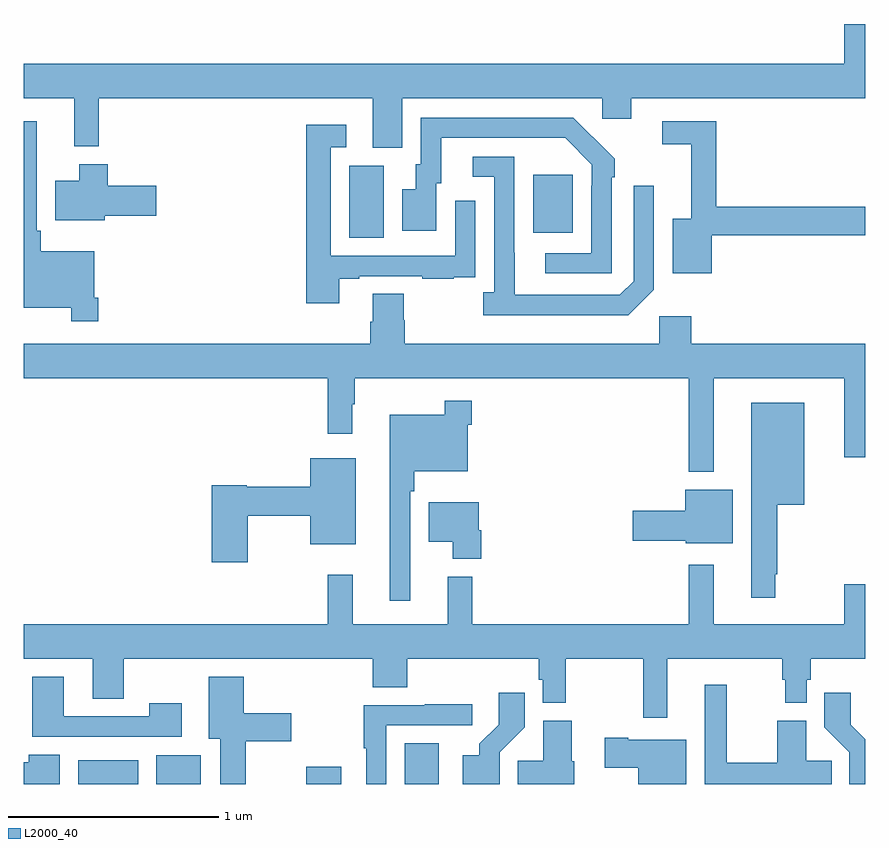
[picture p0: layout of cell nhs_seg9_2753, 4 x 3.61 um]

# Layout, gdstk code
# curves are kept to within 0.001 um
import gdstk
lib = gdstk.Library(unit=1e-6, precision=1e-09)
def R(c, l, rs):  # rectangles x0, y0, x1, y1
    for r in rs: c.add(gdstk.rectangle(r[:2], r[2:], *l))
def P(c, l, *ps):  # polygons
    for p in ps: c.add(gdstk.Polygon(p, *l))
L2000_40 = (2000, 40)

nhs_seg9_2753 = lib.new_cell('nhs_seg9_2753')
R(nhs_seg9_2753, L2000_40, [(269.258,1186.5,269.545,1186.612), (269.63,1186.5,269.842,1186.636), (270.343,1186.5,270.508,1186.582), (270.812,1186.5,270.973,1186.693), (270.548,1189.096,270.712,1189.44), (271.421,1189.121,271.609,1189.396)])
P(nhs_seg9_2753, L2000_40, [(270.799,1189.76),(271.749,1189.76),(271.749,1189.662),(271.888,1189.662),(271.888,1189.76),(273,1189.76),(273,1190.113),(272.9,1190.113),(272.9,1189.924),(269,1189.924),(269,1189.76),(269.24,1189.76),(269.24,1189.532),(269.357,1189.532),(269.357,1189.76),(270.659,1189.76),(270.659,1189.525),(270.799,1189.525)],
  [(271.794,1189.385),(271.809,1189.385),(271.809,1189.473),(271.612,1189.668),(270.888,1189.668),(270.888,1189.446),(270.863,1189.446),(270.863,1189.327),(270.8,1189.327),(270.8,1189.131),(270.961,1189.131),(270.961,1189.356),(270.985,1189.356),(270.985,1189.572),(271.573,1189.572),(271.701,1189.443),(271.701,1189.343),(271.698,1189.343),(271.698,1189.023),(271.479,1189.023),(271.479,1188.927),(271.794,1188.927)],
  [(269.354,1188.811),(269.334,1188.811),(269.334,1189.033),(269.081,1189.033),(269.081,1189.129),(269.061,1189.129),(269.061,1189.651),(269,1189.651),(269,1188.764),(269.226,1188.764),(269.226,1188.699),(269.354,1188.699)],
  [(272.271,1189.108),(273,1189.108),(273,1189.244),(272.291,1189.244),(272.291,1189.65),(272.034,1189.65),(272.034,1189.542),(272.174,1189.542),(272.174,1189.186),(272.084,1189.186),(272.084,1188.929),(272.271,1188.929)],
  [(270.499,1188.903),(270.595,1188.903),(270.595,1188.915),(270.895,1188.915),(270.895,1188.903),(271.043,1188.903),(271.043,1188.909),(271.145,1188.909),(271.145,1189.018),(271.146,1189.018),(271.146,1189.273),(271.05,1189.273),(271.05,1189.011),(270.459,1189.011),(270.459,1189.527),(270.532,1189.527),(270.532,1189.633),(270.343,1189.633),(270.343,1188.786),(270.499,1188.786)],
  [(271.995,1188.849),(271.995,1189.345),(271.899,1189.345),(271.899,1188.891),(271.833,1188.825),(271.333,1188.825),(271.332,1189.482),(271.134,1189.482),(271.134,1189.386),(271.236,1189.386),(271.236,1188.838),(271.185,1188.838),(271.185,1188.728),(271.874,1188.728)],
  [(269.386,1189.202),(269.629,1189.202),(269.629,1189.344),(269.399,1189.344),(269.399,1189.447),(269.264,1189.447),(269.264,1189.369),(269.15,1189.369),(269.15,1189.181),(269.386,1189.181)],
  [(272.281,1188.428),(272.9,1188.428),(272.9,1188.054),(273,1188.054),(273,1188.592),(272.174,1188.592),(272.174,1188.724),(272.022,1188.724),(272.022,1188.592),(270.812,1188.592),(270.812,1188.705),(270.807,1188.705),(270.807,1188.83),(270.659,1188.83),(270.659,1188.698),(270.647,1188.698),(270.647,1188.592),(269,1188.592),(269,1188.428),(270.445,1188.428),(270.445,1188.165),(270.562,1188.165),(270.562,1188.305),(270.574,1188.305),(270.574,1188.428),(272.16,1188.428),(272.16,1187.984),(272.281,1187.984)],
  [(270.837,1187.891),(270.857,1187.891),(270.857,1187.987),(271.11,1187.987),(271.11,1188.209),(271.13,1188.209),(271.13,1188.322),(271.002,1188.322),(271.002,1188.256),(270.74,1188.256),(270.74,1187.37),(270.837,1187.37)],
  [(272.573,1187.497),(272.581,1187.497),(272.581,1187.828),(272.71,1187.828),(272.71,1188.313),(272.459,1188.313),(272.459,1187.385),(272.573,1187.385)],
  [(270.064,1187.776),(270.362,1187.776),(270.362,1187.639),(270.577,1187.639),(270.577,1188.049),(270.362,1188.049),(270.362,1187.912),(270.06,1187.912),(270.06,1187.92),(269.894,1187.92),(269.894,1187.553),(270.064,1187.553)],
  [(272.371,1187.899),(272.144,1187.899),(272.144,1187.798),(271.896,1187.798),(271.896,1187.656),(272.148,1187.656),(272.148,1187.645),(272.371,1187.645)],
  [(271.175,1187.706),(271.162,1187.706),(271.162,1187.839),(270.926,1187.839),(270.926,1187.651),(271.04,1187.651),(271.04,1187.57),(271.175,1187.57)],
  [(272.059,1187.096),(272.605,1187.096),(272.605,1186.995),(272.62,1186.995),(272.62,1186.886),(272.721,1186.886),(272.721,1186.995),(272.741,1186.995),(272.741,1187.096),(273,1187.096),(273,1187.449),(272.9,1187.449),(272.9,1187.26),(272.281,1187.26),(272.281,1187.542),(272.16,1187.542),(272.16,1187.26),(271.133,1187.26),(271.133,1187.485),(271.016,1187.485),(271.016,1187.26),(270.563,1187.26),(270.563,1187.494),(270.445,1187.494),(270.445,1187.26),(269,1187.26),(269,1187.096),(269.327,1187.096),(269.327,1186.906),(269.475,1186.906),(269.475,1187.096),(270.659,1187.096),(270.659,1186.96),(270.824,1186.96),(270.824,1187.096),(271.447,1187.096),(271.447,1186.995),(271.467,1186.995),(271.467,1186.886),(271.576,1186.886),(271.576,1187.096),(271.945,1187.096),(271.945,1186.815),(272.059,1186.815)],
  [(270.054,1186.703),(270.271,1186.703),(270.271,1186.837),(270.046,1186.837),(270.046,1187.011),(269.879,1187.011),(269.879,1186.715),(269.933,1186.715),(269.933,1186.5),(270.054,1186.5)],
  [(269.752,1186.885),(269.596,1186.885),(269.596,1186.821),(269.191,1186.821),(269.191,1187.011),(269.039,1187.011),(269.039,1186.725),(269.752,1186.725)],
  [(272.84,1186.61),(272.719,1186.61),(272.719,1186.801),(272.582,1186.801),(272.582,1186.601),(272.341,1186.601),(272.341,1186.972),(272.237,1186.972),(272.237,1186.5),(272.84,1186.5)],
  [(271.263,1186.651),(271.382,1186.77),(271.382,1186.933),(271.257,1186.933),(271.257,1186.781),(271.166,1186.691),(271.166,1186.636),(271.086,1186.636),(271.086,1186.5),(271.263,1186.5)],
  [(273,1186.713),(272.932,1186.781),(272.932,1186.933),(272.806,1186.933),(272.806,1186.77),(272.925,1186.651),(272.925,1186.5),(273,1186.5)],
  [(270.723,1186.779),(271.132,1186.779),(271.132,1186.878),(270.907,1186.878),(270.907,1186.875),(270.615,1186.875),(270.615,1186.669),(270.627,1186.669),(270.627,1186.5),(270.723,1186.5)],
  [(271.618,1186.608),(271.606,1186.608),(271.606,1186.801),(271.469,1186.801),(271.469,1186.61),(271.348,1186.61),(271.348,1186.5),(271.618,1186.5)],
  [(272.149,1186.711),(271.873,1186.711),(271.873,1186.719),(271.761,1186.719),(271.761,1186.577),(271.922,1186.577),(271.922,1186.5),(272.149,1186.5)],
  [(269.17,1186.64),(269.024,1186.64),(269.024,1186.604),(269,1186.604),(269,1186.5),(269.17,1186.5)])

lib.write_gds('nhs_seg9_2753.gds')
